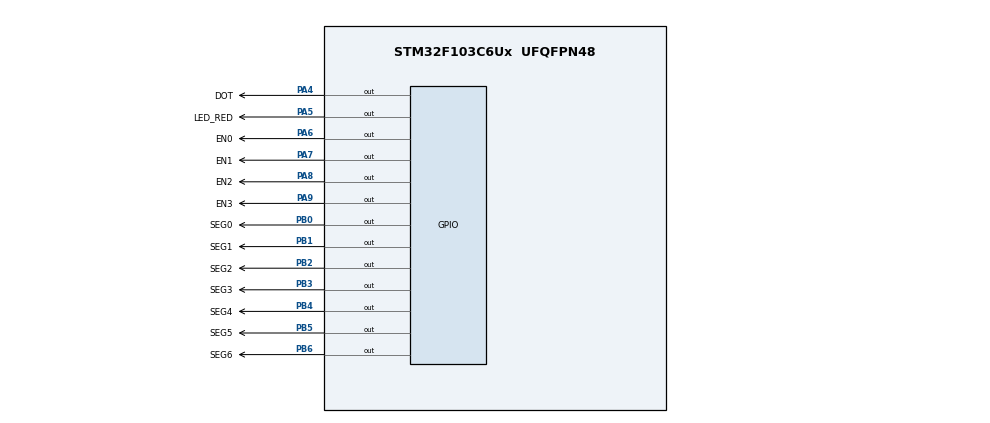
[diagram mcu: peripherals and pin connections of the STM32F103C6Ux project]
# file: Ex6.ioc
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Mcu.Family=STM32F1
Mcu.Name=STM32F103C6Ux
Mcu.Package=UFQFPN48
NVIC.PriorityGroup=NVIC_PRIORITYGROUP_4
NVIC.TIM2_IRQn=true\:0\:0\:false\:false\:true\:true\:true
PA4.GPIO_Label=DOT
PA4.Signal=GPIO_Output
PA5.GPIO_Label=LED_RED
PA5.Signal=GPIO_Output
PA6.GPIO_Label=EN0
PA6.Signal=GPIO_Output
PA7.GPIO_Label=EN1
PA7.Signal=GPIO_Output
PA8.GPIO_Label=EN2
PA8.Signal=GPIO_Output
PA9.GPIO_Label=EN3
PA9.Signal=GPIO_Output
PB0.GPIO_Label=SEG0
PB0.Signal=GPIO_Output
PB1.GPIO_Label=SEG1
PB1.Signal=GPIO_Output
PB2.GPIO_Label=SEG2
PB2.Signal=GPIO_Output
PB3.GPIO_Label=SEG3
PB3.Signal=GPIO_Output
PB4.GPIO_Label=SEG4
PB4.Signal=GPIO_Output
PB5.GPIO_Label=SEG5
PB5.Signal=GPIO_Output
PB6.GPIO_Label=SEG6
PB6.Signal=GPIO_Output
ProjectManager.HeapSize=0x200
ProjectManager.StackSize=0x400
ProjectManager.TargetToolchain=STM32CubeIDE
RCC.APB1Freq_Value=8000000
RCC.APB2Freq_Value=8000000
TIM2.Period=9
TIM2.Prescaler=7999
VP_SYS_VS_ND.Mode=No_Debug
VP_TIM2_VS_ClockSourceINT.Mode=Internal
board=custom

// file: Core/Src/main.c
/* USER CODE BEGIN Header */
/**
  ******************************************************************************
  * @file           : main.c
  * @brief          : Main program body
  ******************************************************************************
  * @attention
  *
  * <h2><center>&copy; Copyright (c) 2024 STMicroelectronics.
  * All rights reserved.</center></h2>
  *
  * This software component is licensed by ST under BSD 3-Clause license,
  * the "License"; You may not use this file except in compliance with the
  * License. You may obtain a copy of the License at:
  *                        opensource.org/licenses/BSD-3-Clause
  *
  ******************************************************************************
  */
/* USER CODE END Header */
#include "main.h"

TIM_HandleTypeDef htim2;

void SystemClock_Config(void);
static void MX_GPIO_Init(void);
static void MX_TIM2_Init(void);

/* USER CODE BEGIN 0 */
int timer0_counter = 0, timer1_counter = 0,timer2_counter=0;
int timer0_flag = 0, timer1_flag = 0, timer2_flag=0;
const int TIMER_CYCLE = 10;

void setTimer0(int duration) {
    timer0_counter = duration / TIMER_CYCLE;
    timer0_flag = 0;
}
void setTimer1(int duration) {
    timer1_counter = duration / TIMER_CYCLE;
    timer1_flag = 0;
}
void setTimer2(int duration) {
    timer2_counter = duration / TIMER_CYCLE;
    timer2_flag = 0;
}

void timer_run() {
    if (timer0_counter > 0) {
        timer0_counter--;
        if (timer0_counter == 0) {
            timer0_flag = 1;
        }
    }
    if (timer1_counter > 0) {
            timer1_counter--;
            if (timer1_counter == 0) {
                timer1_flag = 1;
            }
        }
    if (timer2_counter > 0) {
                timer2_counter--;
                if (timer2_counter == 0) {
                    timer2_flag = 1;
                }
            }
}
void display7SEG(int num)
{
	if(num == 0)
	{
		HAL_GPIO_WritePin(SEG0_GPIO_Port, SEG0_Pin, GPIO_PIN_RESET);
		HAL_GPIO_WritePin(SEG1_GPIO_Port, SEG1_Pin, GPIO_PIN_RESET);
		HAL_GPIO_WritePin(SEG2_GPIO_Port, SEG2_Pin, GPIO_PIN_RESET);
		HAL_GPIO_WritePin(SEG3_GPIO_Port, SEG3_Pin, GPIO_PIN_RESET);
		HAL_GPIO_WritePin(SEG4_GPIO_Port, SEG4_Pin, GPIO_PIN_RESET);
		HAL_GPIO_WritePin(SEG5_GPIO_Port, SEG5_Pin, GPIO_PIN_RESET);
		HAL_GPIO_WritePin(SEG6_GPIO_Port, SEG6_Pin, GPIO_PIN_SET);
	}
	if(num == 1)
	{
		HAL_GPIO_WritePin(SEG0_GPIO_Port, SEG0_Pin, GPIO_PIN_SET);
		HAL_GPIO_WritePin(SEG1_GPIO_Port, SEG1_Pin, GPIO_PIN_RESET);
		HAL_GPIO_WritePin(SEG2_GPIO_Port, SEG2_Pin, GPIO_PIN_RESET);
		HAL_GPIO_WritePin(SEG3_GPIO_Port, SEG3_Pin, GPIO_PIN_SET);
		HAL_GPIO_WritePin(SEG4_GPIO_Port, SEG4_Pin, GPIO_PIN_SET);
		HAL_GPIO_WritePin(SEG5_GPIO_Port, SEG5_Pin, GPIO_PIN_SET);
		HAL_GPIO_WritePin(SEG6_GPIO_Port, SEG6_Pin, GPIO_PIN_SET);
	}
	if(num == 2)
	{
		HAL_GPIO_WritePin(SEG0_GPIO_Port, SEG0_Pin, GPIO_PIN_RESET);
		HAL_GPIO_WritePin(SEG1_GPIO_Port, SEG1_Pin, GPIO_PIN_RESET);
		HAL_GPIO_WritePin(SEG2_GPIO_Port, SEG2_Pin, GPIO_PIN_SET);
		HAL_GPIO_WritePin(SEG3_GPIO_Port, SEG3_Pin, GPIO_PIN_RESET);
		HAL_GPIO_WritePin(SEG4_GPIO_Port, SEG4_Pin, GPIO_PIN_RESET);
		HAL_GPIO_WritePin(SEG5_GPIO_Port, SEG5_Pin, GPIO_PIN_SET);
		HAL_GPIO_WritePin(SEG6_GPIO_Port, SEG6_Pin, GPIO_PIN_RESET);

	}
	if(num == 3)
	{
		HAL_GPIO_WritePin(SEG0_GPIO_Port, SEG0_Pin, GPIO_PIN_RESET);
		HAL_GPIO_WritePin(SEG1_GPIO_Port, SEG1_Pin, GPIO_PIN_RESET);
		HAL_GPIO_WritePin(SEG2_GPIO_Port, SEG2_Pin, GPIO_PIN_RESET);
		HAL_GPIO_WritePin(SEG3_GPIO_Port, SEG3_Pin, GPIO_PIN_RESET);
		HAL_GPIO_WritePin(SEG4_GPIO_Port, SEG4_Pin, GPIO_PIN_SET);
		HAL_GPIO_WritePin(SEG5_GPIO_Port, SEG5_Pin, GPIO_PIN_SET);
		HAL_GPIO_WritePin(SEG6_GPIO_Port, SEG6_Pin, GPIO_PIN_RESET);
	}
	if(num == 4)
	{
		HAL_GPIO_WritePin(SEG0_GPIO_Port, SEG0_Pin, GPIO_PIN_SET);
		HAL_GPIO_WritePin(SEG1_GPIO_Port, SEG1_Pin, GPIO_PIN_RESET);
		HAL_GPIO_WritePin(SEG2_GPIO_Port, SEG2_Pin, GPIO_PIN_RESET);
		HAL_GPIO_WritePin(SEG3_GPIO_Port, SEG3_Pin, GPIO_PIN_SET);
		HAL_GPIO_WritePin(SEG4_GPIO_Port, SEG4_Pin, GPIO_PIN_SET);
		HAL_GPIO_WritePin(SEG5_GPIO_Port, SEG5_Pin, GPIO_PIN_RESET);
		HAL_GPIO_WritePin(SEG6_GPIO_Port, SEG6_Pin, GPIO_PIN_RESET);
	}
	if(num == 5)
	{
		HAL_GPIO_WritePin(SEG0_GPIO_Port, SEG0_Pin, GPIO_PIN_RESET);
		HAL_GPIO_WritePin(SEG1_GPIO_Port, SEG1_Pin, GPIO_PIN_SET);
		HAL_GPIO_WritePin(SEG2_GPIO_Port, SEG2_Pin, GPIO_PIN_RESET);
		HAL_GPIO_WritePin(SEG3_GPIO_Port, SEG3_Pin, GPIO_PIN_RESET);
		HAL_GPIO_WritePin(SEG4_GPIO_Port, SEG4_Pin, GPIO_PIN_SET);
		HAL_GPIO_WritePin(SEG5_GPIO_Port, SEG5_Pin, GPIO_PIN_RESET);
		HAL_GPIO_WritePin(SEG6_GPIO_Port, SEG6_Pin, GPIO_PIN_RESET);
	}
	if(num == 6)
	{
		HAL_GPIO_WritePin(SEG0_GPIO_Port, SEG0_Pin, GPIO_PIN_RESET);
		HAL_GPIO_WritePin(SEG1_GPIO_Port, SEG1_Pin, GPIO_PIN_SET);
		HAL_GPIO_WritePin(SEG2_GPIO_Port, SEG2_Pin, GPIO_PIN_RESET);
		HAL_GPIO_WritePin(SEG3_GPIO_Port, SEG3_Pin, GPIO_PIN_RESET);
		HAL_GPIO_WritePin(SEG4_GPIO_Port, SEG4_Pin, GPIO_PIN_RESET);
		HAL_GPIO_WritePin(SEG5_GPIO_Port, SEG5_Pin, GPIO_PIN_RESET);
		HAL_GPIO_WritePin(SEG6_GPIO_Port, SEG6_Pin, GPIO_PIN_RESET);

	}
	if(num == 7)
	{
		HAL_GPIO_WritePin(SEG0_GPIO_Port, SEG0_Pin, GPIO_PIN_RESET);
		HAL_GPIO_WritePin(SEG1_GPIO_Port, SEG1_Pin, GPIO_PIN_RESET);
		HAL_GPIO_WritePin(SEG2_GPIO_Port, SEG2_Pin, GPIO_PIN_RESET);
		HAL_GPIO_WritePin(SEG3_GPIO_Port, SEG3_Pin, GPIO_PIN_SET);
		HAL_GPIO_WritePin(SEG4_GPIO_Port, SEG4_Pin, GPIO_PIN_SET);
		HAL_GPIO_WritePin(SEG5_GPIO_Port, SEG5_Pin, GPIO_PIN_SET);
		HAL_GPIO_WritePin(SEG6_GPIO_Port, SEG6_Pin, GPIO_PIN_SET);
	}
	if(num == 8)
	{
		HAL_GPIO_WritePin(SEG0_GPIO_Port, SEG0_Pin, GPIO_PIN_RESET);
		HAL_GPIO_WritePin(SEG1_GPIO_Port, SEG1_Pin, GPIO_PIN_RESET);
		HAL_GPIO_WritePin(SEG2_GPIO_Port, SEG2_Pin, GPIO_PIN_RESET);
		HAL_GPIO_WritePin(SEG3_GPIO_Port, SEG3_Pin, GPIO_PIN_RESET);
		HAL_GPIO_WritePin(SEG4_GPIO_Port, SEG4_Pin, GPIO_PIN_RESET);
		HAL_GPIO_WritePin(SEG5_GPIO_Port, SEG5_Pin, GPIO_PIN_RESET);
		HAL_GPIO_WritePin(SEG6_GPIO_Port, SEG6_Pin, GPIO_PIN_RESET);
	}
	if(num == 9)
	{
		HAL_GPIO_WritePin(SEG0_GPIO_Port, SEG0_Pin, GPIO_PIN_RESET);
		HAL_GPIO_WritePin(SEG1_GPIO_Port, SEG1_Pin, GPIO_PIN_RESET);
		HAL_GPIO_WritePin(SEG2_GPIO_Port, SEG2_Pin, GPIO_PIN_RESET);
		HAL_GPIO_WritePin(SEG3_GPIO_Port, SEG3_Pin, GPIO_PIN_RESET);
		HAL_GPIO_WritePin(SEG4_GPIO_Port, SEG4_Pin, GPIO_PIN_SET);
		HAL_GPIO_WritePin(SEG5_GPIO_Port, SEG5_Pin, GPIO_PIN_RESET);
		HAL_GPIO_WritePin(SEG6_GPIO_Port, SEG6_Pin, GPIO_PIN_RESET);
	}
}
const int MAX_LED = 4;
int index_led = 0;
int led_buffer [4] = {1, 7, 3, 5};
void update7SEG (int index)
{
	switch (index)
	{
		case 0:
			{
				HAL_GPIO_WritePin(EN0_GPIO_Port, EN0_Pin, GPIO_PIN_RESET);
				HAL_GPIO_WritePin(EN1_GPIO_Port, EN1_Pin, GPIO_PIN_SET);
				HAL_GPIO_WritePin(EN2_GPIO_Port, EN2_Pin, GPIO_PIN_SET);
				HAL_GPIO_WritePin(EN3_GPIO_Port, EN3_Pin, GPIO_PIN_SET);
				display7SEG(led_buffer[0]);
				break;
			}
		case 1:
			{
				HAL_GPIO_WritePin(EN0_GPIO_Port, EN0_Pin, GPIO_PIN_SET);
				HAL_GPIO_WritePin(EN1_GPIO_Port, EN1_Pin, GPIO_PIN_RESET);
				HAL_GPIO_WritePin(EN2_GPIO_Port, EN2_Pin, GPIO_PIN_SET);
				HAL_GPIO_WritePin(EN3_GPIO_Port, EN3_Pin, GPIO_PIN_SET);
				display7SEG(led_buffer[1]);
				break;
			}
		case 2:
			{
				HAL_GPIO_WritePin(EN0_GPIO_Port, EN0_Pin, GPIO_PIN_SET);
				HAL_GPIO_WritePin(EN1_GPIO_Port, EN1_Pin, GPIO_PIN_SET);
				HAL_GPIO_WritePin(EN2_GPIO_Port, EN2_Pin, GPIO_PIN_RESET);
				HAL_GPIO_WritePin(EN3_GPIO_Port, EN3_Pin, GPIO_PIN_SET);
				display7SEG(led_buffer[2]);
				break;
			}
		case 3:
			{
				HAL_GPIO_WritePin(EN0_GPIO_Port, EN0_Pin, GPIO_PIN_SET);
				HAL_GPIO_WritePin(EN1_GPIO_Port, EN1_Pin, GPIO_PIN_SET);
				HAL_GPIO_WritePin(EN2_GPIO_Port, EN2_Pin, GPIO_PIN_SET);
				HAL_GPIO_WritePin(EN3_GPIO_Port, EN3_Pin, GPIO_PIN_RESET);
				display7SEG(led_buffer[3]);
				break;
			}
		default :
			break ;
	}
}
int hour;
int minute;
int second;
void updateClockBuffer ()
{
	if(hour < 10)
	{
		led_buffer[0] = 0;
		led_buffer[1] = hour;
	}
	if(hour >= 10)
	{
		led_buffer[0] = hour/10;
		led_buffer[1] = hour%10;
	}

	if(minute < 10)
	{
		led_buffer[2] = 0;
		led_buffer[3] = minute;
	}
	if(minute >= 10)
	{
		led_buffer[2] = minute/10;
		led_buffer[3] = minute%10;
	}
}
/* USER CODE END 0 */

int main(void)
{

  /* MCU Configuration--------------------------------------------------------*/

  /* Reset of all peripherals, Initializes the Flash interface and the Systick. */
  HAL_Init();

  /* Configure the system clock */
  SystemClock_Config();

  /* Initialize all configured peripherals */
  MX_GPIO_Init();
  MX_TIM2_Init();
  /* USER CODE BEGIN 2 */
  HAL_TIM_Base_Start_IT (& htim2 );
  /* USER CODE END 2 */

  /* Infinite loop */
  /* USER CODE BEGIN WHILE */
hour = 15 ;
minute = 8;
second = 50;
setTimer0(1000);
setTimer1(1000);
setTimer2(250);
  while (1)
  {
    /* USER CODE END WHILE */
	  if(timer0_flag == 1)
	 	  {
	 		  HAL_GPIO_TogglePin(LED_RED_GPIO_Port, LED_RED_Pin);
	 		  HAL_GPIO_TogglePin(DOT_GPIO_Port, DOT_Pin);
	 		  setTimer0(1000);
	 	  }
	  if(timer1_flag == 1) {
		  second ++;
		  if (second >= 60)
		  {
			  second = 0;
		  	  minute++;
		  }
		  if(minute >= 60)
		  {
			  minute = 0;
		  	  hour++;
		  }
		  if(hour >= 24)
		  {
			  hour = 0;
		  }
		  updateClockBuffer();
		  setTimer1(1000);
	  }
	  if(timer2_flag == 1) {
		  update7SEG(index_led++);
		  if(index_led == MAX_LED) index_led = 0;
		  setTimer2(250);
	  }
  }
}

void SystemClock_Config(void)
{
  RCC_OscInitTypeDef RCC_OscInitStruct = {0};
  RCC_ClkInitTypeDef RCC_ClkInitStruct = {0};

  /** Initializes the RCC Oscillators according to the specified parameters
  * in the RCC_OscInitTypeDef structure.
  */
  RCC_OscInitStruct.OscillatorType = RCC_OSCILLATORTYPE_HSI;
  RCC_OscInitStruct.HSIState = RCC_HSI_ON;
  RCC_OscInitStruct.HSICalibrationValue = RCC_HSICALIBRATION_DEFAULT;
  RCC_OscInitStruct.PLL.PLLState = RCC_PLL_NONE;
  if (HAL_RCC_OscConfig(&RCC_OscInitStruct) != HAL_OK)
  {
    Error_Handler();
  }
  /** Initializes the CPU, AHB and APB buses clocks
  */
  RCC_ClkInitStruct.ClockType = RCC_CLOCKTYPE_HCLK|RCC_CLOCKTYPE_SYSCLK
                              |RCC_CLOCKTYPE_PCLK1|RCC_CLOCKTYPE_PCLK2;
  RCC_ClkInitStruct.SYSCLKSource = RCC_SYSCLKSOURCE_HSI;
  RCC_ClkInitStruct.AHBCLKDivider = RCC_SYSCLK_DIV1;
  RCC_ClkInitStruct.APB1CLKDivider = RCC_HCLK_DIV1;
  RCC_ClkInitStruct.APB2CLKDivider = RCC_HCLK_DIV1;

  if (HAL_RCC_ClockConfig(&RCC_ClkInitStruct, FLASH_LATENCY_0) != HAL_OK)
  {
    Error_Handler();
  }
}

static void MX_TIM2_Init(void)
{

  TIM_ClockConfigTypeDef sClockSourceConfig = {0};
  TIM_MasterConfigTypeDef sMasterConfig = {0};

  htim2.Instance = TIM2;
  htim2.Init.Prescaler = 7999;
  htim2.Init.CounterMode = TIM_COUNTERMODE_UP;
  htim2.Init.Period = 9;
  htim2.Init.ClockDivision = TIM_CLOCKDIVISION_DIV1;
  htim2.Init.AutoReloadPreload = TIM_AUTORELOAD_PRELOAD_DISABLE;
  if (HAL_TIM_Base_Init(&htim2) != HAL_OK)
  {
    Error_Handler();
  }
  sClockSourceConfig.ClockSource = TIM_CLOCKSOURCE_INTERNAL;
  if (HAL_TIM_ConfigClockSource(&htim2, &sClockSourceConfig) != HAL_OK)
  {
    Error_Handler();
  }
  sMasterConfig.MasterOutputTrigger = TIM_TRGO_RESET;
  sMasterConfig.MasterSlaveMode = TIM_MASTERSLAVEMODE_DISABLE;
  if (HAL_TIMEx_MasterConfigSynchronization(&htim2, &sMasterConfig) != HAL_OK)
  {
    Error_Handler();
  }

}

static void MX_GPIO_Init(void)
{
  GPIO_InitTypeDef GPIO_InitStruct = {0};

  /* GPIO Ports Clock Enable */
  __HAL_RCC_GPIOA_CLK_ENABLE();
  __HAL_RCC_GPIOB_CLK_ENABLE();

  /*Configure GPIO pin Output Level */
  HAL_GPIO_WritePin(GPIOA, DOT_Pin|LED_RED_Pin|EN0_Pin|EN1_Pin
                          |EN2_Pin|EN3_Pin, GPIO_PIN_RESET);

  /*Configure GPIO pin Output Level */
  HAL_GPIO_WritePin(GPIOB, SEG0_Pin|SEG1_Pin|SEG2_Pin|SEG3_Pin
                          |SEG4_Pin|SEG5_Pin|SEG6_Pin, GPIO_PIN_RESET);

  /*Configure GPIO pins : DOT_Pin LED_RED_Pin EN0_Pin EN1_Pin
                           EN2_Pin EN3_Pin */
  GPIO_InitStruct.Pin = DOT_Pin|LED_RED_Pin|EN0_Pin|EN1_Pin
                          |EN2_Pin|EN3_Pin;
  GPIO_InitStruct.Mode = GPIO_MODE_OUTPUT_PP;
  GPIO_InitStruct.Pull = GPIO_NOPULL;
  GPIO_InitStruct.Speed = GPIO_SPEED_FREQ_LOW;
  HAL_GPIO_Init(GPIOA, &GPIO_InitStruct);

  /*Configure GPIO pins : SEG0_Pin SEG1_Pin SEG2_Pin SEG3_Pin
                           SEG4_Pin SEG5_Pin SEG6_Pin */
  GPIO_InitStruct.Pin = SEG0_Pin|SEG1_Pin|SEG2_Pin|SEG3_Pin
                          |SEG4_Pin|SEG5_Pin|SEG6_Pin;
  GPIO_InitStruct.Mode = GPIO_MODE_OUTPUT_PP;
  GPIO_InitStruct.Pull = GPIO_NOPULL;
  GPIO_InitStruct.Speed = GPIO_SPEED_FREQ_LOW;
  HAL_GPIO_Init(GPIOB, &GPIO_InitStruct);

}

/* USER CODE BEGIN 4 */
int counter_7seg = 50;
int status_7seg = 0;
int counter_led_red = 100;
void HAL_TIM_PeriodElapsedCallback(TIM_HandleTypeDef* htim)
{
	timer_run () ;

}
/* USER CODE END 4 */

void Error_Handler(void)
{
  __disable_irq();
  while (1)
  {
  }
}

/************************ (C) COPYRIGHT STMicroelectronics *****END OF FILE****/
